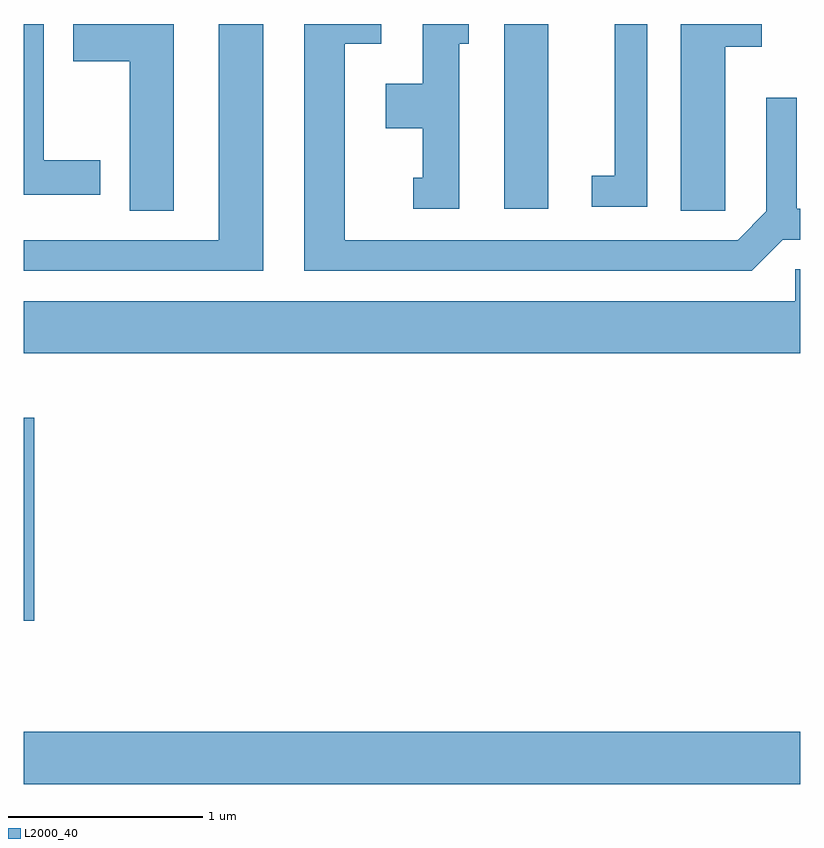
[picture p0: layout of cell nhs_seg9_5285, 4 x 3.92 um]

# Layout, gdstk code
import gdstk
lib = gdstk.Library(unit=1e-6, precision=1e-09)
def R(c, l, rs):  # rectangles x0, y0, x1, y1
    for r in rs: c.add(gdstk.rectangle(r[:2], r[2:], *l))
def P(c, l, *ps):  # polygons
    for p in ps: c.add(gdstk.Polygon(p, *l))
L2000_40 = (2000, 40)

nhs_seg9_5285 = lib.new_cell('nhs_seg9_5285')
R(nhs_seg9_5285, L2000_40, [(341.611,1958.516,345.611,1958.784), (341.611,1959.356,341.664,1960.404), (344.086,1961.481,344.314,1962.432)])
P(nhs_seg9_5285, L2000_40, [(342.384,1962.432),(341.866,1962.432),(341.866,1962.241),(342.156,1962.241),(342.156,1961.471),(342.384,1961.471)],
  [(344.824,1962.432),(344.656,1962.432),(344.656,1961.649),(344.538,1961.649),(344.538,1961.491),(344.824,1961.491)],
  [(345.522,1961.321),(345.611,1961.321),(345.611,1961.479),(345.594,1961.479),(345.594,1962.053),(345.436,1962.053),(345.436,1961.467),(345.289,1961.319),(343.264,1961.319),(343.264,1962.331),(343.453,1962.331),(343.453,1962.432),(343.056,1962.432),(343.056,1961.161),(345.362,1961.161)],
  [(343.854,1962.331),(343.903,1962.331),(343.903,1962.432),(343.666,1962.432),(343.666,1962.124),(343.476,1962.124),(343.476,1961.896),(343.666,1961.896),(343.666,1961.639),(343.618,1961.639),(343.618,1961.481),(343.854,1961.481)],
  [(342.844,1962.432),(342.616,1962.432),(342.616,1961.319),(341.611,1961.319),(341.611,1961.161),(342.844,1961.161)],
  [(342.004,1961.729),(341.714,1961.729),(341.714,1962.432),(341.611,1962.432),(341.611,1961.551),(342.004,1961.551)],
  [(345.224,1962.316),(345.413,1962.316),(345.413,1962.432),(344.996,1962.432),(344.996,1961.471),(345.224,1961.471)],
  [(345.611,1961.169),(345.586,1961.169),(345.586,1961.004),(341.611,1961.004),(341.611,1960.736),(345.611,1960.736)])

lib.write_gds('nhs_seg9_5285.gds')
